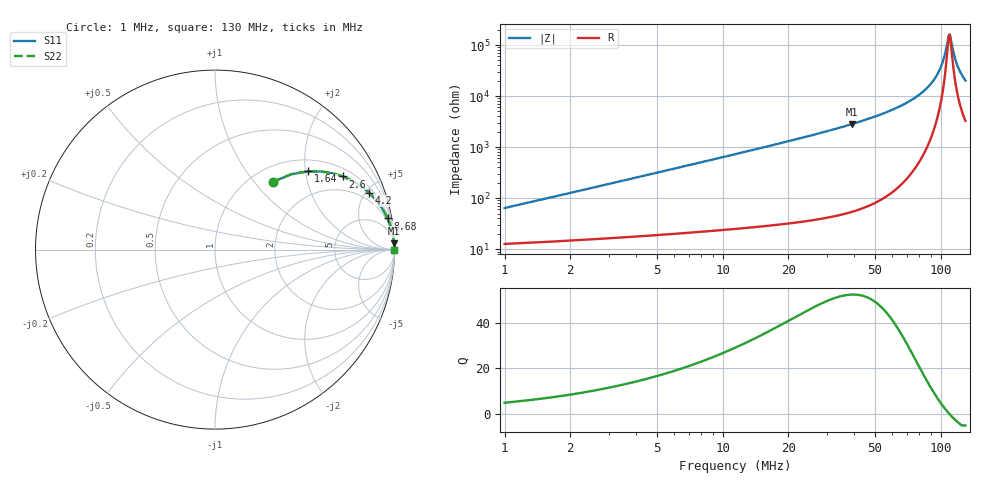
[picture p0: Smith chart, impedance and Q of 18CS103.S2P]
! Coilcraft 1812CS-103 Chip Inductor
! 31 July 2002
# MHZ S MA R 50
!Freq  MagS11  AngS11  MagS21  AngS21  MagS12  AngS12  MagS22  AngS22
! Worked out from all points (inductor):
!   405 points, 1 MHz to 130 MHz, reference 50 ohm
!   read as one part in series: L = 10 uH near 1.64 MHz
!   highest Q = 52.4 at 39.08 MHz (marker M1), where L = 11.4 uH
!   self-resonance near 109.8 MHz
!   S11 on the Smith chart (normalised r, x): 1 MHz: 1.25, +1.26; 1.64 MHz: 1.28, +2.06; 2.6 MHz: 1.31, +3.27; 4.2 MHz: 1.36, +5.29; 8.68 MHz: 1, +11; 130 MHz: open
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1  0.4969 49.4  0.7751 -29.1  0.7751 -29.1  0.4969 49.4
1.64  0.6766 40.1  0.6504 -42.1  0.6504 -42.1  0.6766 40.1
2.6  0.8199 29.8  0.4993 -54.7  0.4993 -54.7  0.8199 29.8
4.2  0.9153 20.2  0.3455 -66.0  0.3455 -66.0  0.9153 20.2
6.12  0.9561 14.3  0.2475 -72.7  0.2475 -72.7  0.9561 14.3
8.68  0.9768 10.2  0.1778 -77.4  0.1778 -77.4  0.9768 10.2
14.76  0.9914 6.0  0.1049 -82.3  0.1049 -82.3  0.9914 6.0
22.76  0.9963 3.8  0.06666 -84.9  0.06666 -84.9  0.9963 3.8
39.08  0.9987 2.0  0.03552 -86.9  0.03552 -86.9  0.9987 2.0
44.2  0.999 1.7  0.03014 -87.2  0.03014 -87.2  0.999 1.7
65.64  0.9994 0.9  0.01558 -87.5  0.01558 -87.5  0.9994 0.9
87.08  0.9995 0.4  0.006808 -85.6  0.006808 -85.6  0.9995 0.4
94.44  0.9995 0.3  0.004429 -83.0  0.004429 -83.0  0.9995 0.3
100.2  0.9994 0.2  0.00273 -78.2  0.00273 -78.2  0.9994 0.2
104.36  0.9994 0.1  0.001603 -68.7  0.001603 -68.7  0.9994 0.1
108.52  0.9994 0.0  0.0007108 -30.7  0.0007108 -30.7  0.9994 0.0
109.48  0.9994 0.0  0.0006277 -10.0  0.0006277 -10.0  0.9994 0.0
110.44  0.9994 -0.0  0.000642 12.9  0.000642 12.9  0.9994 -0.0
115.56  0.9993 -0.1  0.0016 65.2  0.0016 65.2  0.9993 -0.1
120.04  0.9993 -0.1  0.002651 74.4  0.002651 74.4  0.9993 -0.1
124.52  0.9992 -0.2  0.003696 78.1  0.003696 78.1  0.9992 -0.2
130  0.9992 -0.3  0.004942 80.4  0.004942 80.4  0.9992 -0.3
